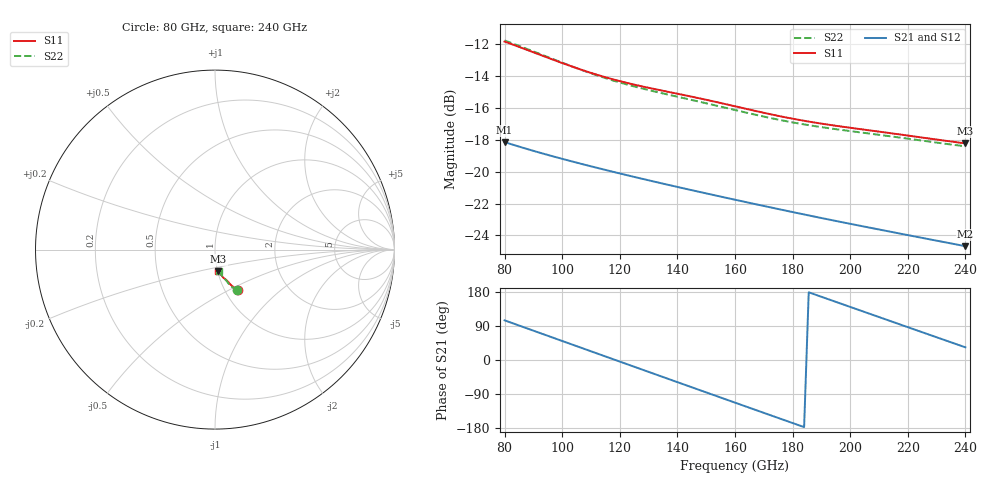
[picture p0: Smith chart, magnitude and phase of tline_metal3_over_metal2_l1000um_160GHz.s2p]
#  GHZ S DB R 50
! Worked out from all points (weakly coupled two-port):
!   101 points, 80 GHz to 240 GHz, reference 50 ohm
!   highest |S21| = -18.13 dB at 80 GHz (marker M1); lowest = -24.7 dB at 240 GHz (marker M2)
!   lowest |S11| = -18.2 dB at 240 GHz (marker M3), VSWR 1.28, Z = 50.4 - j12.4 ohm
!   |S11| at or under -10 dB: start of sweep to end of sweep
!   |S22| runs from -18.4 to -11.7 dB; largest |S21 - S12| = 2.1e-14
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80  -11.82 -60.4  -18.13 104.7  -18.13 104.7  -11.75 -61.1
86.4  -12.25 -62.2  -18.49 87.2  -18.49 87.2  -12.18 -63.1
92.8  -12.68 -63.8  -18.83 69.8  -18.83 69.8  -12.63 -64.8
100.8  -13.22 -65.5  -19.22 48.0  -19.22 48.0  -13.20 -66.7
107.2  -13.62 -66.5  -19.52 30.6  -19.52 30.6  -13.63 -67.8
113.6  -13.98 -67.2  -19.82 13.2  -19.82 13.2  -14.03 -68.7
120  -14.30 -67.9  -20.10 -4.2  -20.10 -4.2  -14.39 -69.4
126.4  -14.58 -68.7  -20.38 -21.6  -20.38 -21.6  -14.70 -70.0
134.4  -14.89 -69.7  -20.72 -43.3  -20.72 -43.3  -15.05 -70.9
140.8  -15.12 -70.7  -20.98 -60.6  -20.98 -60.6  -15.31 -71.8
147.2  -15.36 -71.8  -21.24 -77.9  -21.24 -77.9  -15.58 -72.7
153.6  -15.62 -72.8  -21.50 -95.2  -21.50 -95.2  -15.84 -73.5
160  -15.88 -73.8  -21.75 -112.5  -21.75 -112.5  -16.12 -74.3
168  -16.21 -74.8  -22.07 -134.1  -22.07 -134.1  -16.45 -75.1
174.4  -16.46 -75.4  -22.31 -151.3  -22.31 -151.3  -16.70 -75.5
180.8  -16.69 -75.9  -22.56 -168.5  -22.56 -168.5  -16.92 -75.9
187.2  -16.89 -76.4  -22.80 174.3  -22.80 174.3  -17.11 -76.2
193.6  -17.07 -76.9  -23.03 157.2  -23.03 157.2  -17.28 -76.6
201.6  -17.27 -77.6  -23.32 135.8  -23.32 135.8  -17.48 -77.2
214.4  -17.58 -78.9  -23.78 101.6  -23.78 101.6  -17.78 -78.3
225.6  -17.86 -80.0  -24.17 71.7  -24.17 71.7  -18.05 -79.3
240  -18.21 -81.2  -24.67 33.4  -24.67 33.4  -18.40 -80.3
